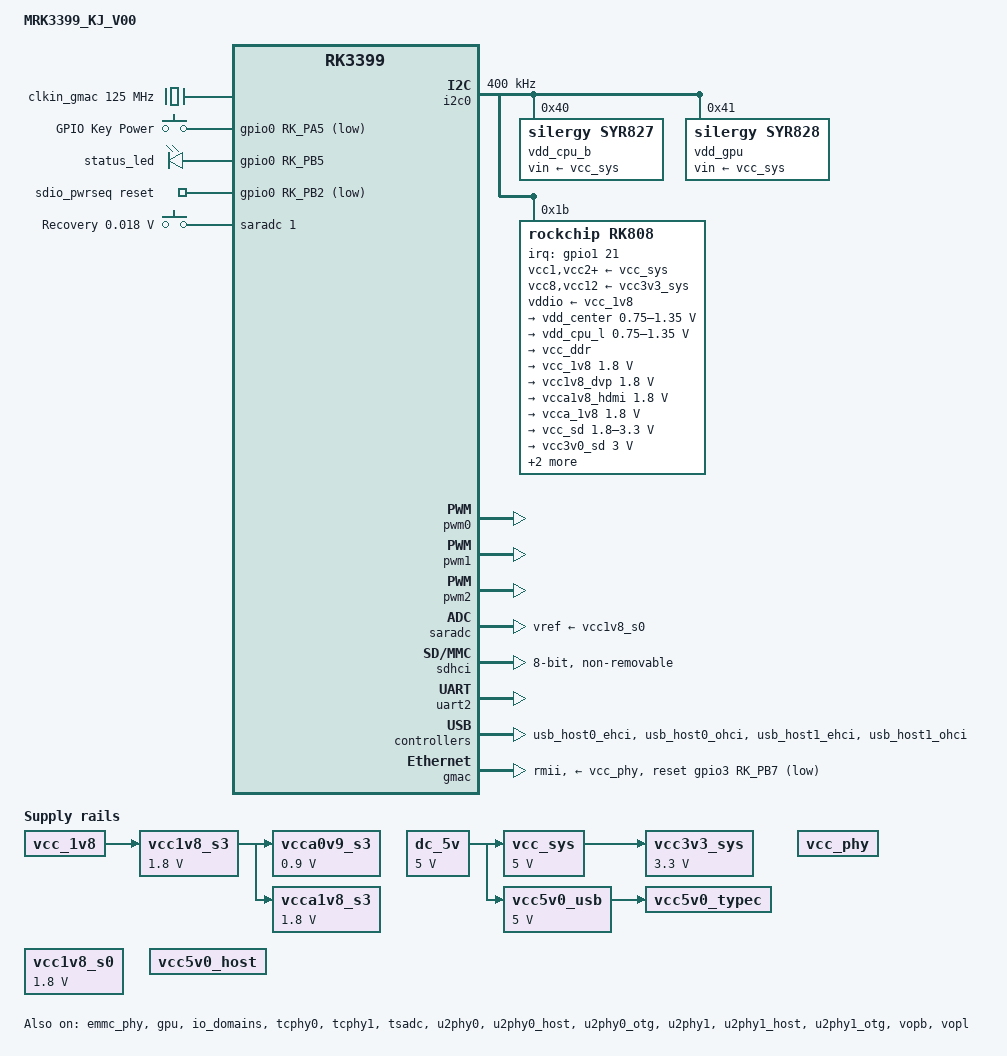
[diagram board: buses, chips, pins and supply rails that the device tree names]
/dts-v1/;
#include <dt-bindings/input/linux-event-codes.h>
#include "rk3399.dtsi"
#include "rk3399-opp.dtsi"

/ {
	model = "MRK3399_KJ_V00";
	compatible = "ROCKCHIP,MRK3399", "rockchip,rk3399";

	aliases {
		mmc0 = &sdio0;
		mmc1 = &sdmmc;
		mmc2 = &sdhci;
	};

	chosen {
		stdout-path = "serial2:1500000n8";
	};

	clkin_gmac: external-gmac-clock {
		compatible = "fixed-clock";
		clock-frequency = <125000000>;
		clock-output-names = "clkin_gmac";
		#clock-cells = <0>;
	};

	dc_5v: dc-5v {
		compatible = "regulator-fixed";
		regulator-always-on;
		regulator-boot-on;
		regulator-min-microvolt = <5000000>;
		regulator-max-microvolt = <5000000>;
		regulator-name = "dc_5v";
	};

	vcc_sys: vcc-sys {
		compatible = "regulator-fixed";
		regulator-always-on;
		regulator-boot-on;
		regulator-min-microvolt = <5000000>;
		regulator-max-microvolt = <5000000>;
		regulator-name = "vcc_sys";
		vin-supply = <&dc_5v>;
	};

	vcc_phy: vcc-phy-regulator {
		compatible = "regulator-fixed";
		regulator-name = "vcc_phy";
		regulator-always-on;
		regulator-boot-on;
	};

	vcc1v8_s0: vcc1v8-s0 {
		compatible = "regulator-fixed";
		regulator-name = "vcc1v8_s0";
		regulator-min-microvolt = <1800000>;
		regulator-max-microvolt = <1800000>;
		regulator-always-on;
	};

	vcc3v3_sys: vcc3v3-sys {
		compatible = "regulator-fixed";
		regulator-name = "vcc3v3_sys";
		regulator-min-microvolt = <3300000>;
		regulator-max-microvolt = <3300000>;
		regulator-always-on;
		vin-supply = <&vcc_sys>;
	};

	vcc5v0_host: vcc5v0-host-regulator {
		compatible = "regulator-fixed";
		enable-active-high;
		// gpio = <&gpio4 RK_PD2 GPIO_ACTIVE_LOW>;
		pinctrl-names = "default";
		pinctrl-0 = <&host_vbus_drv>;
		regulator-name = "vcc5v0_host";
		regulator-always-on;
	};

	vcc5v0_typec: vcc5v0-typec-regulator {
		compatible = "regulator-fixed";
		enable-active-high;
		// gpio = <0x86 0x03 0x00>;
		pinctrl-names = "default";
		pinctrl-0 = <&vcc5v0_typec_en>;
		regulator-name = "vcc5v0_typec";
		regulator-always-on;
		vin-supply = <&vcc5v0_usb>;
	};

	vcc5v0_usb: vcc5v0-usb {
		compatible = "regulator-fixed";
		regulator-name = "vcc5v0_usb";
		regulator-always-on;
		regulator-boot-on;
		regulator-min-microvolt = <5000000>;
		regulator-max-microvolt = <5000000>;
		vin-supply = <&dc_5v>;
	};

	vcc3v3_sys: vcc3v3-sys {
		compatible = "regulator-fixed";
		regulator-always-on;
		regulator-boot-on;
		regulator-min-microvolt = <3300000>;
		regulator-max-microvolt = <3300000>;
		regulator-name = "vcc3v3_sys";
	};

	/* switched by pmic_sleep */
	vcc1v8_s3: vcc1v8-s3 {
		compatible = "regulator-fixed";
		regulator-always-on;
		regulator-boot-on;
		regulator-min-microvolt = <1800000>;
		regulator-max-microvolt = <1800000>;
		regulator-name = "vcc1v8_s3";
		vin-supply = <&vcc_1v8>;
	};
/*
	vcc3v0_sd: vcc3v0-sd {
		compatible = "regulator-fixed";
		enable-active-high;
		gpio = <&gpio0 RK_PA1 GPIO_ACTIVE_HIGH>;
		pinctrl-names = "default";
		pinctrl-0 = <&sdmmc0_pwr_h>;
		regulator-always-on;
		regulator-min-microvolt = <3000000>;
		regulator-max-microvolt = <3000000>;
		regulator-name = "vcc3v0_sd";
		vin-supply = <&vcc3v3_sys>;
	};
*/
	/*
	 * Really, this is supplied by vcc_1v8, and vcc1v8_s3 only
	 * drives the enable pin, but we can't quite model that.
	 */
	vcca0v9_s3: vcca0v9-s3 {
		compatible = "regulator-fixed";
		regulator-min-microvolt = <900000>;
		regulator-max-microvolt = <900000>;
		regulator-name = "vcca0v9_s3";
		vin-supply = <&vcc1v8_s3>;
	};

	/* As above, actually supplied by vcc3v3_sys */
	vcca1v8_s3: vcca1v8-s3 {
		compatible = "regulator-fixed";
		regulator-min-microvolt = <1800000>;
		regulator-max-microvolt = <1800000>;
		regulator-name = "vcca1v8_s3";
		vin-supply = <&vcc1v8_s3>;
	};

	gpio-keys {
		compatible = "gpio-keys";
		autorepeat;
		pinctrl-names = "default";
		pinctrl-0 = <&power_key>;

		key-power {
			debounce-interval = <100>;
			gpios = <&gpio0 RK_PA5 GPIO_ACTIVE_LOW>;
			label = "GPIO Key Power";
			linux,code = <KEY_POWER>;
			wakeup-source;
		};
	};

	leds: gpio-leds {
		compatible = "gpio-leds";
		pinctrl-names = "default";
		pinctrl-0 = <&status_led_pin>;

		status_led: led-0 {
			gpios = <&gpio0 RK_PB5 GPIO_ACTIVE_HIGH>;
			label = "status_led";
			linux,default-trigger = "heartbeat";
		};
	};

	sdio_pwrseq: sdio-pwrseq {
		compatible = "mmc-pwrseq-simple";
		clocks = <&rk808 1>;
		clock-names = "ext_clock";
		pinctrl-names = "default";
		pinctrl-0 = <&wifi_reg_on_h>;
		reset-gpios = <&gpio0 RK_PB2 GPIO_ACTIVE_LOW>;
	};

	adc-keys {
		compatible = "adc-keys";
		io-channels = <&saradc 1>;
		io-channel-names = "buttons";
		keyup-threshold-microvolt = <1800000>;
		poll-interval = <100>;

		button-recovery {
			label = "Recovery";
			linux,code = <KEY_VENDOR>;
			press-threshold-microvolt = <18000>;
		};
	};
};


&cpu_b0 {
	cpu-supply = <&vdd_cpu_b>;
};

&cpu_b1 {
	cpu-supply = <&vdd_cpu_b>;
};

&cpu_l0 {
	cpu-supply = <&vdd_cpu_l>;
};

&cpu_l1 {
	cpu-supply = <&vdd_cpu_l>;
};

&cpu_l2 {
	cpu-supply = <&vdd_cpu_l>;
};

&cpu_l3 {
	cpu-supply = <&vdd_cpu_l>;
};

&emmc_phy {
	rockchip,enable-strobe-pulldown;
	status = "okay";
};

&gpu {
	mali-supply = <&vdd_gpu>;
	status = "okay";
};

&hdmi {
	ddc-i2c-bus = <&i2c7>;
	pinctrl-names = "default";
	pinctrl-0 = <&hdmi_cec>;
	status = "disabled";
};

&hdmi_sound {
	status = "disabled";
};

&i2c0 {
	clock-frequency = <400000>;
	i2c-scl-rising-time-ns = <160>;
	i2c-scl-falling-time-ns = <30>;
	status = "okay";

	vdd_cpu_b: regulator@40 {
		compatible = "silergy,syr827";
		reg = <0x40>;
		fcs,suspend-voltage-selector = <1>;
		pinctrl-names = "default";
		pinctrl-0 = <&cpu_b_sleep>;
		regulator-always-on;
		regulator-boot-on;
		regulator-min-microvolt = <712500>;
		regulator-max-microvolt = <1500000>;
		regulator-name = "vdd_cpu_b";
		regulator-ramp-delay = <1000>;
		vin-supply = <&vcc_sys>;

		regulator-state-mem {
			regulator-off-in-suspend;
		};
	};

	vdd_gpu: regulator@41 {
		compatible = "silergy,syr828";
		reg = <0x41>;
		fcs,suspend-voltage-selector = <1>;
		pinctrl-names = "default";
		pinctrl-0 = <&gpu_sleep>;
		regulator-always-on;
		regulator-boot-on;
		regulator-min-microvolt = <712500>;
		regulator-max-microvolt = <1500000>;
		regulator-name = "vdd_gpu";
		regulator-ramp-delay = <1000>;
		vin-supply = <&vcc_sys>;

		regulator-state-mem {
			regulator-off-in-suspend;
		};
	};

	rk808: pmic@1b {
		compatible = "rockchip,rk808";
		reg = <0x1b>;
		clock-output-names = "xin32k", "rtc_clko_wifi";
		#clock-cells = <1>;
		interrupt-parent = <&gpio1>;
		interrupts = <21 IRQ_TYPE_LEVEL_LOW>;
		pinctrl-names = "default";
		pinctrl-0 = <&pmic_int_l>;
		rockchip,system-power-controller;
		wakeup-source;

		vcc1-supply = <&vcc_sys>;
		vcc2-supply = <&vcc_sys>;
		vcc3-supply = <&vcc_sys>;
		vcc4-supply = <&vcc_sys>;
		vcc6-supply = <&vcc_sys>;
		vcc7-supply = <&vcc_sys>;
		vcc8-supply = <&vcc3v3_sys>;
		vcc9-supply = <&vcc_sys>;
		vcc10-supply = <&vcc_sys>;
		vcc11-supply = <&vcc_sys>;
		vcc12-supply = <&vcc3v3_sys>;
		vddio-supply = <&vcc_1v8>;

		regulators {
			vdd_center: DCDC_REG1 {
				regulator-always-on;
				regulator-boot-on;
				regulator-min-microvolt = <750000>;
				regulator-max-microvolt = <1350000>;
				regulator-name = "vdd_center";
				regulator-ramp-delay = <6001>;

				regulator-state-mem {
					regulator-off-in-suspend;
				};
			};

			vdd_cpu_l: DCDC_REG2 {
				regulator-always-on;
				regulator-boot-on;
				regulator-min-microvolt = <750000>;
				regulator-max-microvolt = <1350000>;
				regulator-name = "vdd_cpu_l";
				regulator-ramp-delay = <6001>;

				regulator-state-mem {
					regulator-off-in-suspend;
				};
			};

			vcc_ddr: DCDC_REG3 {
				regulator-always-on;
				regulator-boot-on;
				regulator-name = "vcc_ddr";

				regulator-state-mem {
					regulator-on-in-suspend;
				};
			};

			vcc_1v8: DCDC_REG4 {
				regulator-always-on;
				regulator-boot-on;
				regulator-min-microvolt = <1800000>;
				regulator-max-microvolt = <1800000>;
				regulator-name = "vcc_1v8";

				regulator-state-mem {
					regulator-on-in-suspend;
					regulator-suspend-microvolt = <1800000>;
				};
			};

			vcc1v8_dvp: LDO_REG1 {
				regulator-always-on;
				regulator-boot-on;
				regulator-min-microvolt = <1800000>;
				regulator-max-microvolt = <1800000>;
				regulator-name = "vcc1v8_dvp";

				regulator-state-mem {
					regulator-off-in-suspend;
				};
			};

			vcca1v8_hdmi: LDO_REG2 {
				regulator-always-on;
				regulator-boot-on;
				regulator-min-microvolt = <1800000>;
				regulator-max-microvolt = <1800000>;
				regulator-name = "vcca1v8_hdmi";

				regulator-state-mem {
					regulator-off-in-suspend;
				};
			};

			vcca_1v8: LDO_REG3 {
				regulator-always-on;
				regulator-boot-on;
				regulator-min-microvolt = <1800000>;
				regulator-max-microvolt = <1800000>;
				regulator-name = "vcca_1v8";

				regulator-state-mem {
					regulator-on-in-suspend;
					regulator-suspend-microvolt = <1800000>;
				};
			};

			vcc_sd: LDO_REG4 {
				regulator-always-on;
				regulator-boot-on;
				regulator-init-microvolt = <3000000>;
				regulator-min-microvolt = <1800000>;
				regulator-max-microvolt = <3300000>;
				regulator-name = "vcc_sd";

				regulator-state-mem {
					regulator-on-in-suspend;
					regulator-suspend-microvolt = <3000000>;
				};
			};

			vcc3v0_sd: LDO_REG5 {
				regulator-always-on;
				regulator-boot-on;
				regulator-min-microvolt = <3000000>;
				regulator-max-microvolt = <3000000>;
				regulator-name = "vcc3v0_sd";

				regulator-state-mem {
					regulator-off-in-suspend;
				};
			};

			vcc_1v5: LDO_REG6 {
				regulator-always-on;
				regulator-boot-on;
				regulator-min-microvolt = <1500000>;
				regulator-max-microvolt = <1500000>;
				regulator-name = "vcc_1v5";

				regulator-state-mem {
					regulator-on-in-suspend;
					regulator-suspend-microvolt = <1500000>;
				};
			};

			vcca0v9_hdmi: LDO_REG7 {
				regulator-always-on;
				regulator-boot-on;
				regulator-min-microvolt = <900000>;
				regulator-max-microvolt = <900000>;
				regulator-name = "vcca0v9_hdmi";

				regulator-state-mem {
					regulator-off-in-suspend;
				};
			};

			vcc_3v0: LDO_REG8 {
				regulator-always-on;
				regulator-boot-on;
				regulator-min-microvolt = <3000000>;
				regulator-max-microvolt = <3000000>;
				regulator-name = "vcc_3v0";

				regulator-state-mem {
					regulator-on-in-suspend;
					regulator-suspend-microvolt = <3000000>;
				};
			};

			vcc3v3_s3: SWITCH_REG1 {
				regulator-always-on;
				regulator-boot-on;
				regulator-name = "vcc3v3_s3";

				regulator-state-mem {
					regulator-off-in-suspend;
				};
			};

			vcc3v3_s0: SWITCH_REG2 {
				regulator-always-on;
				regulator-boot-on;
				regulator-name = "vcc3v3_s0";

				regulator-state-mem {
					regulator-off-in-suspend;
				};
			};
		};
	};
};

&i2c1 {
	status = "disabled";
};

&i2c2 {
	status = "disabled";
};

&i2c4 {
	status = "disabled";
};

&i2c7 {
	status = "disabled";
};

&i2s2 {
	status = "disabled";
};

&io_domains {
	bt656-supply = <&vcc1v8_s0>;
	audio-supply = <&vcc1v8_s0>;
	sdmmc-supply = <&vcc_sd>;
	gpio1830-supply = <&vcc_3v0>;
	status = "okay";
};

&pcie_phy {
	assigned-clock-parents = <&cru SCLK_PCIEPHY_REF100M>;
	assigned-clock-rates = <100000000>;
	assigned-clocks = <&cru SCLK_PCIEPHY_REF>;
	status = "disabled";
};

&pcie0 {
	status = "disabled";
};

&pinctrl {

	gpio-leds {
		status_led_pin: status-led-pin {
			rockchip,pins = <0 RK_PB5 RK_FUNC_GPIO &pcfg_pull_none>;
		};
	};

	gmac {
		phy_intb: phy-intb {
			rockchip,pins = <3 RK_PB2 RK_FUNC_GPIO &pcfg_pull_up>;
		};

		phy_rstb: phy-rstb {
			rockchip,pins = <3 RK_PB7 RK_FUNC_GPIO &pcfg_pull_none>;
		};
	};

	pmic {
		cpu_b_sleep: cpu-b-sleep {
			rockchip,pins = <1 RK_PC1 RK_FUNC_GPIO &pcfg_pull_down>;
		};

		gpu_sleep: gpu-sleep {
			rockchip,pins = <1 RK_PB6 RK_FUNC_GPIO &pcfg_pull_down>;
		};

		pmic_int_l: pmic-int-l {
			rockchip,pins = <1 RK_PC5 RK_FUNC_GPIO &pcfg_pull_down>;
		};
	};

	rockchip-key {
		power_key: power-key {
			rockchip,pins = <0 RK_PA5 RK_FUNC_GPIO &pcfg_pull_up>;
		};
	};

	sdio {
		bt_host_wake_l: bt-host-wake-l {
			rockchip,pins = <0 RK_PA4 RK_FUNC_GPIO &pcfg_pull_none>;
		};

		bt_reg_on_h: bt-reg-on-h {
			/* external pullup to VCC1V8_PMUPLL */
			rockchip,pins = <0 RK_PB1 RK_FUNC_GPIO &pcfg_pull_none>;
		};

		bt_wake_l: bt-wake-l {
			rockchip,pins = <2 RK_PD2 RK_FUNC_GPIO &pcfg_pull_none>;
		};

		wifi_reg_on_h: wifi-reg_on-h {
			rockchip,pins = <0 RK_PB2 RK_FUNC_GPIO &pcfg_pull_none>;
		};
	};

	sdmmc {
		sdmmc0_det_l: sdmmc0-det-l {
			rockchip,pins = <0 RK_PA7 RK_FUNC_GPIO &pcfg_pull_up>;
		};

		sdmmc0_pwr_h: sdmmc0-pwr-h {
			rockchip,pins = <0 RK_PA1 RK_FUNC_GPIO &pcfg_pull_none>;
		};
	};
};

&pmu_io_domains {
	pmu1830-supply = <&vcc_1v8>;
	status = "okay";
};

&pwm0 {
	status = "okay";
};

&pwm1 {
	status = "okay";
};

&pwm2 {
	pinctrl-names = "active";
	pinctrl-0 = <&pwm2_pin_pull_down>;
	status = "okay";
};

&saradc {
	vref-supply = <&vcc1v8_s0>;
	status = "okay";
};

&sdhci {
	bus-width = <8>;
	mmc-hs200-1_8v;
	non-removable;
	status = "okay";
};

&sdio0 {
	bus-width = <4>;
	cap-sd-highspeed;
	cap-sdio-irq;
	keep-power-in-suspend;
	mmc-pwrseq = <&sdio_pwrseq>;
	non-removable;
	pinctrl-names = "default";
	pinctrl-0 = <&sdio0_bus4 &sdio0_cmd &sdio0_clk>;
	sd-uhs-sdr104;
	status = "disabled";
};

&sdmmc {
	bus-width = <4>;
	cap-sd-highspeed;
	cap-mmc-highspeed;
	cd-gpios = <&gpio0 RK_PA7 GPIO_ACTIVE_LOW>;
	disable-wp;
	pinctrl-names = "default";
	pinctrl-0 = <&sdmmc_bus4 &sdmmc_clk &sdmmc_cmd &sdmmc0_det_l>;
	sd-uhs-sdr104;
	vmmc-supply = <&vcc3v0_sd>;
	vqmmc-supply = <&vcc_sd>;
	status = "disabled";
};

&tcphy0 {
	status = "okay";
};

&tcphy1 {
	status = "okay";
};

&tsadc {
	/* tshut mode 0:CRU 1:GPIO */
	rockchip,hw-tshut-mode = <1>;
	/* tshut polarity 0:LOW 1:HIGH */
	rockchip,hw-tshut-polarity = <1>;
	status = "okay";
};

&u2phy0 {
	status = "okay";
};

&u2phy0_host {
	status = "okay";
};

&u2phy0_otg {
	status = "okay";
};

&u2phy1 {
	status = "okay";
};

&u2phy1_host {
	status = "okay";
};

&u2phy1_otg {
	status = "okay";
};

&uart0 {
	status = "disabled";
};

&uart2 {
	status = "okay";
};

&usbdrd3_0 {
	status = "disabled";
};

&usbdrd3_1 {
	status = "disabled";
};

&usbdrd_dwc3_0 {
	status = "disabled";
};

&usbdrd_dwc3_1 {
	dr_mode = "host";
	status = "disabled";
};

&usb_host0_ehci {
	status = "okay";
};

&usb_host0_ohci {
	status = "okay";
};

&usb_host1_ehci {
	status = "okay";
};

&usb_host1_ohci {
	status = "okay";
};

&vopb {
	status = "okay";
};

&vopb_mmu {
	status = "okay";
};

&vopl {
	status = "okay";
};

&vopl_mmu {
	status = "okay";
};

&u2phy0_host {
	phy-supply = <&vcc5v0_typec>;
};

&u2phy1_host {
	phy-supply = <&vcc5v0_typec>;
};

&gmac {
	assigned-clock-parents = <&clkin_gmac>;
	assigned-clocks = <&cru SCLK_RMII_SRC>;
	assigned-clock-rates = <50000000>;
	clock_in_out = "output";
	pinctrl-names = "default";
	pinctrl-0 = <&rgmii_pins>;
	phy-mode = "rmii";
	phy-supply = <&vcc_phy>;
	snps,reset-gpio = <&gpio3 RK_PB7 GPIO_ACTIVE_LOW>;
	snps,reset-active-low;
	snps,reset-delays-us = <0 10000 50000>;
	tx_delay = <0x28>;
	rx_delay = <0x13>;
	status = "okay";
};
